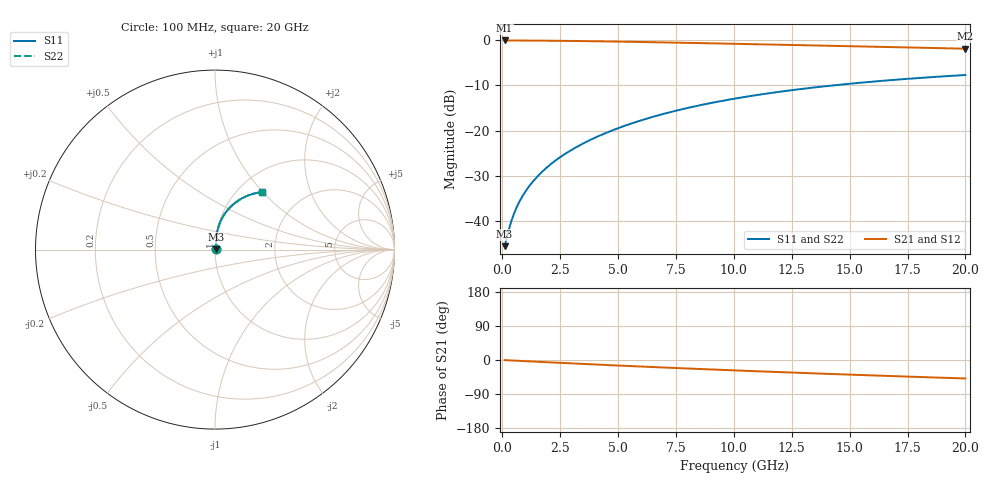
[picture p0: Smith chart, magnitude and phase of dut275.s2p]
! Touchstone file exported from HFSS 2024.1.0
!  File:  C:/UserFiles/LocalFiles/RDL_TSV_Batchsim/temp_RDL_bottom_275_1778702745.aedt
!  Generated:  04:08:29 AM May 14, 2026
!  Design:  RDL_bottom
!  Project:  temp_RDL_bottom_275_1778702745
!  Setup:  Setup1
!  Solution:  Sweep
! Variables:
!  dtsv = 10.80580581um
!  hbump = 3um
!  htsv = 64.79um
!  ldown = 682.5um
!  lrdl = 100um
!  p = 40
!  p1 = 55.64um
!  rhole = 1um
!  t = 450um
!  tdown = 2.13um
!  trdl = 3.915915916um
!  wdown = 25.86um
!  wrdl = 20um
# GHz S MA R 50.000000
! Terminal data exported
! Port[1] = RDL1_T1
! Port[2] = RDL1_T2
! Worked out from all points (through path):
!   200 points, 100 MHz to 20 GHz, reference 50 ohm
!   highest |S21| = -0.04 dB at 100 MHz (marker M1); lowest = -1.9 dB at 20 GHz (marker M2)
!   group delay of S21, straight-line fit = 6.71 ps
!   lowest |S11| = -45.6 dB at 100 MHz (marker M3), VSWR 1.01, Z = 50.5 + j0.226 ohm
!   |S11| at or under -10 dB: start of sweep to 14.29 GHz
!   |S22| runs from -45.6 to -7.7 dB; largest |S21 - S12| = 2.6e-14
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0.1  0.005233 25.4  0.9953 -0.3  0.9953 -0.3  0.005233 25.4
! Gamma 0 0 0 0
! Port Impedance 50 0 50 0
0.3  0.008285 52.3  0.9948 -1.0  0.9948 -1.0  0.008285 52.3
0.4  0.01009 58.5  0.9945 -1.3  0.9945 -1.3  0.01009 58.5
0.5  0.01192 62.7  0.9942 -1.6  0.9942 -1.6  0.01192 62.7
0.6  0.01375 65.9  0.9939 -1.9  0.9939 -1.9  0.01375 65.9
0.7  0.01559 68.3  0.9936 -2.2  0.9936 -2.2  0.01559 68.3
0.9  0.01927 71.9  0.993 -2.8  0.993 -2.8  0.01927 71.9
1.2  0.0249 75.6  0.992 -3.7  0.992 -3.7  0.02489 75.6
1.7  0.03455 79.3  0.99 -5.2  0.99 -5.2  0.03454 79.3
2.2  0.04454 81.3  0.9876 -6.6  0.9876 -6.6  0.04454 81.3
2.8  0.05698 82.7  0.984 -8.4  0.984 -8.4  0.05698 82.7
3.5  0.07205 83.3  0.9791 -10.4  0.9791 -10.4  0.07206 83.3
4.2  0.08769 83.2  0.9735 -12.4  0.9735 -12.4  0.0877 83.3
5  0.1061 82.6  0.9665 -14.6  0.9665 -14.6  0.1061 82.7
5.9  0.1274 81.5  0.9579 -17.0  0.9579 -17.0  0.1274 81.5
6.8  0.149 79.9  0.9489 -19.4  0.9489 -19.4  0.149 79.9
8.4  0.1873 76.6  0.932 -23.4  0.932 -23.4  0.1874 76.7
10.1  0.2271 72.8  0.9136 -27.6  0.9136 -27.6  0.2272 72.8
11.7  0.2629 69.0  0.896 -31.3  0.896 -31.3  0.2629 69.0
13.4  0.2986 65.0  0.8772 -35.2  0.8772 -35.2  0.2987 65.1
16.7  0.3605 57.6  0.8413 -42.2  0.8413 -42.2  0.3606 57.7
20  0.4124 50.8  0.8068 -48.8  0.8068 -48.8  0.4125 50.9
